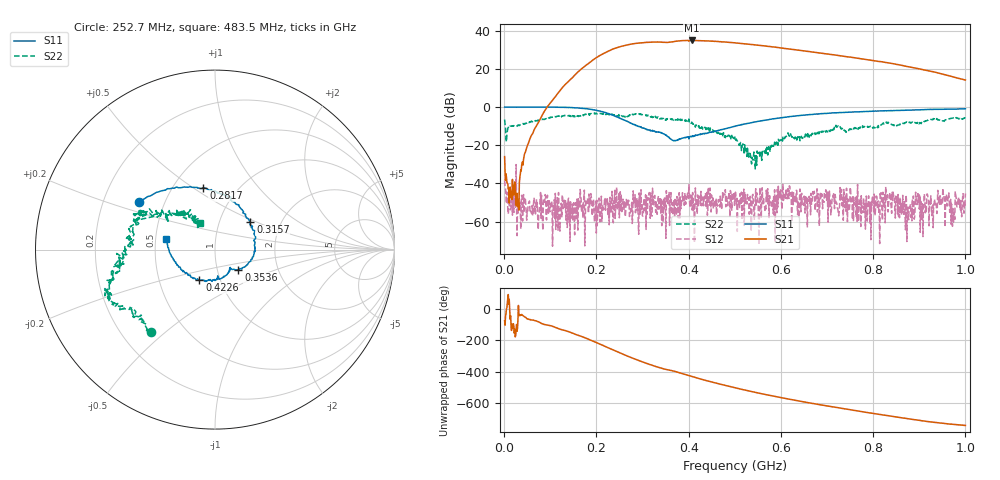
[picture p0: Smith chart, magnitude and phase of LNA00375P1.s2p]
! Created with skrf 1.9.0 (http://scikit-rf.org).
# Hz S RI R 50.0
!freq ReS11 ImS11 ReS21 ImS21 ReS12 ImS12 ReS22 ImS22
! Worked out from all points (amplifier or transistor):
!   1001 points, 1 MHz to 1 GHz, reference 50 ohm
!   highest |S21| = 34.9 dB at 406.6 MHz (marker M1)
!   |S21| within 3 dB of that: 255.3 MHz to 569 MHz (313.6 MHz wide, 76.1 % of centre)
!   unconditionally stable (mu >= 1): 4.349 MHz to 71.61 MHz; 211 MHz to 233.8 MHz; 251.8 MHz to end of sweep (the widest 3 of 33)
!   at 166.8 MHz: K = 0.99, MSG = 34.0 dB, |S12| = -48.1 dB
!   at 500.5 MHz: K = 2.25, MAG = 34.2 dB, |S12| = -47.4 dB
!   at 1 GHz: K = 2.15, MAG = 23.6 dB, |S12| = -45.3 dB
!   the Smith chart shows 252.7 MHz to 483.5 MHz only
!   S11 on the Smith chart (normalised r, x): 252.7 MHz: 0.36, +0.25; 281.7 MHz: 0.70, +0.55; 315.7 MHz: 1.40, +0.45; 353.6 MHz: 1.26, -0.30; 422.6 MHz: 0.80, -0.28; 483.5 MHz: 0.57, +0.07
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1000000  0.995 0.00816  0.0108 -0.0492  -0.012 0.000346  -0.4339 0.183
1.08892e8  0.5074 -0.855  -0.7882 -1.557  -0.00193 -0.00325  0.4344 -0.3326
1.67833e8  -0.2567 -0.8933  -10.05 -0.6166  -0.00051 0.00166  0.0504 -0.6193
2.12788e8  -0.6893 -0.3086  -15.13 18.98  0.000415 -0.00207  -0.209 -0.6306
2.31769e8  -0.6379 0.00569  -7.409 30.49  -0.00128 -0.00211  -0.2875 -0.5668
2.52748e8  -0.4229 0.2626  8.583 37.73  0.000562 -0.00171  -0.3541 -0.4566
2.81719e8  -0.0645 0.3446  33.81 30.71  -0.00134 0.00268  -0.5814 -0.2862
3.15685e8  0.1969 0.1519  49.83 4.806  -0.00274 0.00166  -0.5642 -0.1108
3.34666e8  0.2243 -0.0105  49.23 -11.02  0.000783 0.00466  -0.5079 -0.0459
3.53647e8  0.1308 -0.114  43.68 -22.77  0.0029 0.00364  -0.4934 0.0626
3.77623e8  0.08 -0.1123  38.35 -37.83  0.000568 -0.00112  -0.4116 0.2059
4.06594e8  -0.00165 -0.1669  18.62 -52.32  -0.00464 0.000457  -0.3333 0.2251
4.22578e8  -0.0865 -0.1678  5.972 -54.53  0.00306 0.00289  -0.2528 0.2017
4.5055e8  -0.2025 -0.0974  -14.39 -51.51  0.000687 0.00289  -0.1548 0.1976
4.83517e8  -0.2728 0.0584  -32.6 -38.25  0.00232 0.00265  -0.0815 0.1488
5.005e8  -0.2728 0.15  -38.26 -29.74  -0.00425 -0.000518  -0.0823 0.1484
5.41459e8  -0.1865 0.3575  -42.16 -8.174  0.00199 -0.000426  -0.0614 0.025
5.88412e8  0.0205 0.5016  -35.05 11.48  0.00361 -0.00216  -0.0803 -0.0783
6.67333e8  0.4025 0.4986  -13.39 24.15  -3.29e-05 -0.00339  -0.1905 -0.0673
7.53247e8  0.6833 0.2861  4.468 19.53  0.00168 -0.00319  -0.2593 -0.0252
8.34166e8  0.8041 0.0187  10.94 9.19  6.1e-05 -0.0035  -0.37 -0.0427
1e9  0.7326 -0.5244  4.753 -1.836  -0.000532 0.00543  -0.4323 0.2745
